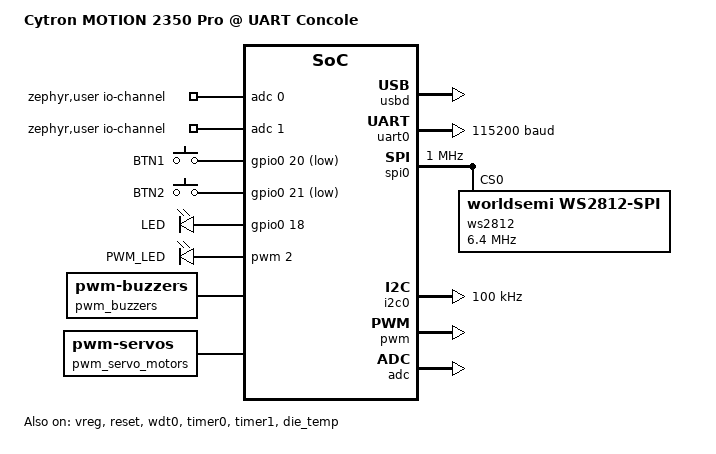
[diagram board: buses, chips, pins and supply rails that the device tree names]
/*
 * SPDX-FileCopyrightText: Copyright (c) 2026 TiaC Systems
 * SPDX-License-Identifier: Apache-2.0
 */

#include <freq.h>
#include <mem.h>

#include <raspberrypi/partitions_0x0_default_2M.dtsi>

#include <zephyr/dt-bindings/clock/rpi_pico_rp2350_clock.h>
#include <zephyr/dt-bindings/regulator/rpi_pico.h>

#include <zephyr/dt-bindings/gpio/gpio.h>
#include <zephyr/dt-bindings/i2c/i2c.h>
#include <zephyr/dt-bindings/led/led.h>
#include <zephyr/dt-bindings/pwm/pwm.h>

#include <zephyr/dt-bindings/input/input-event-codes.h>
#include <zephyr/dt-bindings/lvgl/lvgl.h>

#include "stemma_qt_connector.dtsi"
#include "seeed_grove_connectors.dtsi"
#include "cytron_motion_2350_pro-pinctrl.dtsi"

/ {
	model = "Cytron MOTION 2350 Pro @ UART Concole";
	compatible = "cytron,motion-2350-pro",
		     "cytron,motion-2350-pro-uartcons";

	chosen {
		zephyr,sram = &sram0;
		zephyr,flash = &flash0;
		zephyr,flash-controller = &qmi;
		zephyr,code-partition = &code_partition;
		zephyr,console = &uart0;
		zephyr,shell-uart = &uart0;
	};

	aliases {
		watchdog0 = &wdt0;
		sw0 = &btn0;
		sw1 = &btn1;
		led0 = &led0;
		pwm-led0 = &pwm_led0;
		pwm-buzzer0 = &pwm_buzzer0;
		led-strip = &led_strip;
		pwm-servo0 = &pwm_servo0;
		pwm-servo1 = &pwm_servo1;
		pwm-servo2 = &pwm_servo2;
		pwm-servo3 = &pwm_servo3;
		pwm-servo4 = &pwm_servo4;
		pwm-servo5 = &pwm_servo5;
		pwm-servo6 = &pwm_servo6;
		pwm-servo7 = &pwm_servo7;
	};

	zephyr,user {
		io-channels = <&adc 0>, <&adc 1>;
	};

	lvgl_keypad: lvgl-keypad {
		compatible = "zephyr,lvgl-keypad-input";
		input = <&gpio_keys>;
		input-codes = <INPUT_KEY_0 INPUT_KEY_1>;
		lvgl-codes = <LV_KEY_ENTER LV_KEY_NEXT>;
	};

	gpio_keys: gpio-keys {
		compatible = "gpio-keys";

		btn0: btn0 {
			gpios = <&gpio0 20 GPIO_ACTIVE_LOW>;
			zephyr,code = <INPUT_KEY_0>;
			label = "BTN1";
		};
		btn1: btn1 {
			gpios = <&gpio0 21 GPIO_ACTIVE_LOW>;
			zephyr,code = <INPUT_KEY_1>;
			label = "BTN2";
		};
	};

	gpio_leds: gpio-leds {
		compatible = "gpio-leds";

		led0: led0 {
			gpios = <&gpio0 18 GPIO_ACTIVE_HIGH>;
			label = "LED";
		};
	};

	pwm_leds: pwm-leds {
		compatible = "pwm-leds";

		pwm_led0: pwm-led0 {
			pwms = <&pwm 2 PWM_MSEC(20) PWM_POLARITY_NORMAL>;
			label = "PWM_LED";
		};
	};

	pwm_buzzers: pwm-buzzers {
		compatible = "pwm-buzzers";

		pwm_buzzer0: pwm-buzzer0 {
			pwms = <&pwm 6 PWM_HZ(880) PWM_POLARITY_NORMAL>;
			label = "PWM_BUZZER";
		};
	};

	pwm_servo_motors: pwm-servo-motors {
		compatible = "pwm-servos";

		pwm_servo0: pwm-servo0 {
			pwms = <&pwm 0 PWM_MSEC(20) PWM_POLARITY_NORMAL>;
			label = "PWM_SERVO_0";
		};
		pwm_servo1: pwm-servo1 {
			pwms = <&pwm 1 PWM_MSEC(20) PWM_POLARITY_NORMAL>;
			label = "PWM_SERVO_1";
		};
		pwm_servo2: pwm-servo2 {
			pwms = <&pwm 2 PWM_MSEC(20) PWM_POLARITY_NORMAL>;
			label = "PWM_SERVO_2";
		};
		pwm_servo3: pwm-servo3 {
			pwms = <&pwm 3 PWM_MSEC(20) PWM_POLARITY_NORMAL>;
			label = "PWM_SERVO_3";
		};
		pwm_servo4: pwm-servo4 {
			pwms = <&pwm 4 PWM_MSEC(20) PWM_POLARITY_NORMAL>;
			label = "PWM_SERVO_4";
		};
		pwm_servo5: pwm-servo5 {
			pwms = <&pwm 5 PWM_MSEC(20) PWM_POLARITY_NORMAL>;
			label = "PWM_SERVO_5";
		};
		pwm_servo6: pwm-servo6 {
			pwms = <&pwm 6 PWM_MSEC(20) PWM_POLARITY_NORMAL>;
			label = "PWM_SERVO_6";
		};
		pwm_servo7: pwm-servo7 {
			pwms = <&pwm 7 PWM_MSEC(20) PWM_POLARITY_NORMAL>;
			label = "PWM_SERVO_7";
		};
	};
};

&flash0 {
	status = "okay";
	reg = <0x10000000 DT_SIZE_M(2)>;
	ranges = <0x0 0x10000000 DT_SIZE_M(2)>;

	partitions {
		storage_partition: partition@100000 {
			compatible = "zephyr,mapped-partition";
			label = "storage";
			reg = <0x100000 DT_SIZE_M(1)>;
		};
	};
};

&code_partition {
	reg = <0x0 DT_SIZE_M(1)>;
};

&clocks {
	status = "okay";
	pinctrl-0 = <&clocks_default>;
	pinctrl-names = "default";
};

&vreg {
	status = "okay";
	regulator-always-on;
	regulator-allowed-modes = <REGULATOR_RPI_PICO_MODE_NORMAL>;
};

&reset {
	status = "okay";
};

&wdt0 {
	status = "okay";
};

&timer0 {
	status = "okay";
};

&timer1 {
	status = "okay";
};

&dma {
	status = "okay";
};

&die_temp {
	status = "okay";
	friendly-name = "RP2350 chip temperature";
};

zephyr_udc0: &usbd {
	status = "okay";
};

&uart0 {
	status = "okay";
	pinctrl-0 = <&uart0_default>;
	pinctrl-names = "default";
	current-speed = <115200>;
};

&spi0 {
	status = "okay";
	pinctrl-0 = <&spi0_ws2812_default>;
	pinctrl-names = "default";

	clock-frequency = <DT_FREQ_M(1)>;

	ws2812: ws2812@0 {
		compatible = "worldsemi,ws2812-spi";
		status = "okay";

		reg = <0>;
		spi-max-frequency = <DT_FREQ_K(6400)>;	/* Tbit = 156.25 ns */

		/* HI: 0xFC: 11111100: 0.937 us high and 0.313 us low */
		/* LO: 0xC0: 11000000: 0.313 us high and 0.937 us low */
		spi-one-frame = <0xfc>;
		spi-zero-frame = <0xc0>;

		chain-length = <2>;
		color-mapping = <LED_COLOR_ID_GREEN
				 LED_COLOR_ID_RED
				 LED_COLOR_ID_BLUE>;
	};
};

led_strip: &ws2812 {};

&spi1 {
	status = "disabled";
	pinctrl-0 = <&spi1_default>;
	pinctrl-names = "default";
	clock-frequency = <DT_FREQ_M(8)>;
};

&i2c0 {
	status = "okay";
	pinctrl-0 = <&i2c0_default>;
	pinctrl-names = "default";
	clock-frequency = <I2C_BITRATE_STANDARD>;
};

&i2c1 {
	status = "disabled";
	pinctrl-0 = <&i2c1_default>;
	pinctrl-names = "default";
	clock-frequency = <I2C_BITRATE_STANDARD>;
};

&pwm {
	status = "okay";
	pinctrl-0 = <&pwm_default>;
	pinctrl-names = "default";
	divider-int-0 = <255>;	/* servo:  PWM0CHA/B (0/1) */
	divider-int-1 = <255>;	/* servo:  PWM1CHA/B (2/3) */
	divider-frac-1 = <15>;	/* led:    PWM1CHB (2) */
	divider-int-2 = <255>;	/* servo:  PWM2CHA/B (4/5) */
	divider-int-3 = <255>;	/* servo:  PWM3CHA/B (6/7) */
				/* buzzer: PWM3CHA (6) */
};

&adc {
	status = "okay";
	pinctrl-0 = <&adc_default>;
	pinctrl-names = "default";
};

gpio0_lo: &gpio0 {
	status = "okay";
	/* namespace and positions without wired bits */
	gpio-reserved-ranges = <23 3>;
	gpio-line-names =
		"SRVM1_PWM0",		/* GP0 */
		"SRVM2_PWM1",		/* GP1 */
		"SRVM3_PWM2",		/* GP2 */
		"SRVM4_PWM3",		/* GP3 */
		"SRVM5_PWM4",		/* GP4 */
		"SRVM6_PWM5",		/* GP5 */
		"SRVM7_PWM6",		/* GP6 */
		"SRVM8_PWM7",		/* GP7 */
		"DCM1A_PWM8",		/* GP8 */
		"DCM1B_PWM9",		/* GP9 */
		"DCM2A_PWM10",		/* GP10 */
		"DCM2B_PWM11",		/* GP11 */
		"DCM3A_PWM12",		/* GP12 */
		"DCM3B_PWM13",		/* GP13 */
		"DCM4A_PWM14",		/* GP14 */
		"DCM4B_PWM15",		/* GP15 */
		"GBH1Q02_SDA0",		/* GP16 */
		"GBH2Q01_SCL0",		/* GP17 */
		"GBH3_ULED0",		/* GP18 */
		"GBH4",			/* GP19 */
		"UBTN0",		/* GP20 */
		"UBTN1",		/* GP21 */
		"BUZZER",		/* GP22 */
		"",  /* Din of LED stripe, GP23 */
		"",   /* res. USB Host D+, GP24 */
		"",   /* res. USB Host D-, GP25 */
		"GBH5Q12_ADC0",		/* GP26 */
		"GBH6Q11_ADC1",		/* GP27 */
		"GBH7Q22_TX0",		/* GP28 */
		"GBH8Q21_RX0";		/* GP29 */
};
